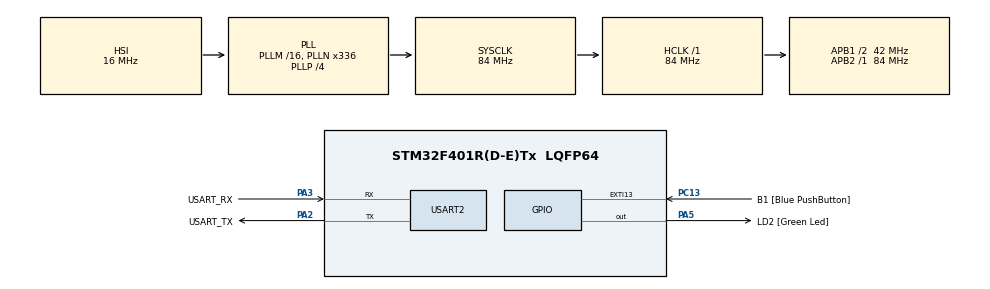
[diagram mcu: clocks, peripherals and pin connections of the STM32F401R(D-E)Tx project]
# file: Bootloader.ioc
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Mcu.Family=STM32F4
Mcu.Name=STM32F401R(D-E)Tx
Mcu.Package=LQFP64
NVIC.PriorityGroup=NVIC_PRIORITYGROUP_0
PA13.GPIO_Label=TMS
PA13.Mode=Serial_Wire
PA13.Signal=SYS_JTMS-SWDIO
PA14.GPIO_Label=TCK
PA14.Mode=Serial_Wire
PA14.Signal=SYS_JTCK-SWCLK
PA2.GPIO_Label=USART_TX
PA2.GPIO_Mode=GPIO_MODE_AF_PP
PA2.GPIO_PuPd=GPIO_NOPULL
PA2.GPIO_Speed=GPIO_SPEED_FREQ_LOW
PA2.Mode=Asynchronous
PA2.Signal=USART2_TX
PA3.GPIO_Label=USART_RX
PA3.GPIO_Mode=GPIO_MODE_AF_PP
PA3.GPIO_PuPd=GPIO_NOPULL
PA3.GPIO_Speed=GPIO_SPEED_FREQ_LOW
PA3.Mode=Asynchronous
PA3.Signal=USART2_RX
PA5.GPIO_Label=LD2 [Green Led]
PA5.GPIO_Mode=GPIO_MODE_OUTPUT_PP
PA5.GPIO_PuPd=GPIO_NOPULL
PA5.GPIO_Speed=GPIO_SPEED_FREQ_LOW
PA5.Signal=GPIO_Output
PB3.GPIO_Label=SWO
PB3.Signal=SYS_JTDO-SWO
PC13-ANTI_TAMP.GPIO_Label=B1 [Blue PushButton]
PC13-ANTI_TAMP.GPIO_ModeDefaultEXTI=GPIO_MODE_IT_FALLING
PC13-ANTI_TAMP.GPIO_PuPd=GPIO_NOPULL
PC13-ANTI_TAMP.Signal=GPXTI13
PC14-OSC32_IN.Mode=LSE-External-Oscillator
PC14-OSC32_IN.Signal=RCC_OSC32_IN
PC15-OSC32_OUT.Mode=LSE-External-Oscillator
PC15-OSC32_OUT.Signal=RCC_OSC32_OUT
PH0\ -\ OSC_IN.Mode=HSE-External-Clock-Source
PH0\ -\ OSC_IN.Signal=RCC_OSC_IN
PH1\ -\ OSC_OUT.Mode=HSE-External-Clock-Source
PH1\ -\ OSC_OUT.Signal=RCC_OSC_OUT
ProjectManager.HeapSize=0x200
ProjectManager.StackSize=0x400
ProjectManager.TargetToolchain=STM32CubeIDE
RCC.48MHZClocksFreq_Value=48000000
RCC.AHBFreq_Value=84000000
RCC.APB1CLKDivider=RCC_HCLK_DIV2
RCC.APB1Freq_Value=42000000
RCC.APB1TimFreq_Value=84000000
RCC.APB2Freq_Value=84000000
RCC.APB2TimFreq_Value=84000000
RCC.CortexFreq_Value=84000000
RCC.HCLKFreq_Value=84000000
RCC.HSE_VALUE=8000000
RCC.HSI_VALUE=16000000
RCC.PLLN=336
RCC.PLLP=RCC_PLLP_DIV4
RCC.PLLQ=7
RCC.SYSCLKFreq_VALUE=84000000
RCC.SYSCLKSource=RCC_SYSCLKSOURCE_PLLCLK
RCC.VCOOutputFreq_Value=336000000
USART2.VirtualMode=VM_ASYNC
board=NUCLEO-F401RE

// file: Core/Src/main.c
/* USER CODE BEGIN Header */
/**
  ******************************************************************************
  * @file           : main.c
  * @brief          : Main program body
  ******************************************************************************
  * @attention
  *
  * Copyright (c) 2024 STMicroelectronics.
  * All rights reserved.
  *
  * This software is licensed under terms that can be found in the LICENSE file
  * in the root directory of this software component.
  * If no LICENSE file comes with this software, it is provided AS-IS.
  *
  ******************************************************************************
  */
/* USER CODE END Header */
#include "main.h"
#include <stdio.h>
#include "usart.h"
#include "gpio.h"

/* USER CODE BEGIN PD */
#define MAJOR 0
#define MINOR 1
/* USER CODE END PD */

/* USER CODE BEGIN PV */
const uint8_t bl_version[2] = {MAJOR, MINOR};
/* USER CODE END PV */

void SystemClock_Config(void);
/* USER CODE BEGIN PFP */
static void jump_app();
/* USER CODE END PFP */

int main(void)
{

  /* MCU Configuration--------------------------------------------------------*/

  /* Reset of all peripherals, Initializes the Flash interface and the Systick. */
  HAL_Init();

  /* Configure the system clock */
  SystemClock_Config();

  /* Initialize all configured peripherals */
  MX_GPIO_Init();
  MX_USART2_UART_Init();
  /* USER CODE BEGIN 2 */
  printf("Bootloader Starting! Version number: %d.%d\n", bl_version[0], bl_version[1]);
  HAL_GPIO_WritePin(GPIOA, GPIO_PIN_5, SET);

  bool ota_btn_state = 0;
  uint32_t end_tick = HAL_GetTick() + 2000;
  do {
	ota_btn_state = HAL_GPIO_ReadPin( GPIOC, GPIO_PIN_13 );
	uint32_t current_tick = HAL_GetTick();

	if( ( ota_btn_state != GPIO_PIN_RESET ) || ( current_tick > end_tick ) )
	{
	  break;
	}
  }
  while(true);

  if(ota_btn_state)
  {
	  printf("Starting firmware download\n");

	  if(etx_ota_download_and_flash() != ETX_OTA_EX_OK)
	  {
		  printf("OTA update error. Program halting\n");
		  while(true);
	  }
	  else
	  {
		  printf("OTA update done! Rebooting\n");
		  HAL_NVIC_SystemReset(); //Reset application to load it
	  }

  }

  jump_app();
  /* USER CODE END 2 */

  /* Infinite loop */
  while (1)
  {

  }
}

void SystemClock_Config(void)
{
  RCC_OscInitTypeDef RCC_OscInitStruct = {0};
  RCC_ClkInitTypeDef RCC_ClkInitStruct = {0};

  /** Configure the main internal regulator output voltage
  */
  __HAL_RCC_PWR_CLK_ENABLE();
  __HAL_PWR_VOLTAGESCALING_CONFIG(PWR_REGULATOR_VOLTAGE_SCALE2);

  /** Initializes the RCC Oscillators according to the specified parameters
  * in the RCC_OscInitTypeDef structure.
  */
  RCC_OscInitStruct.OscillatorType = RCC_OSCILLATORTYPE_HSI;
  RCC_OscInitStruct.HSIState = RCC_HSI_ON;
  RCC_OscInitStruct.HSICalibrationValue = RCC_HSICALIBRATION_DEFAULT;
  RCC_OscInitStruct.PLL.PLLState = RCC_PLL_ON;
  RCC_OscInitStruct.PLL.PLLSource = RCC_PLLSOURCE_HSI;
  RCC_OscInitStruct.PLL.PLLM = 16;
  RCC_OscInitStruct.PLL.PLLN = 336;
  RCC_OscInitStruct.PLL.PLLP = RCC_PLLP_DIV4;
  RCC_OscInitStruct.PLL.PLLQ = 7;
  if (HAL_RCC_OscConfig(&RCC_OscInitStruct) != HAL_OK)
  {
    Error_Handler();
  }

  /** Initializes the CPU, AHB and APB buses clocks
  */
  RCC_ClkInitStruct.ClockType = RCC_CLOCKTYPE_HCLK|RCC_CLOCKTYPE_SYSCLK
                              |RCC_CLOCKTYPE_PCLK1|RCC_CLOCKTYPE_PCLK2;
  RCC_ClkInitStruct.SYSCLKSource = RCC_SYSCLKSOURCE_PLLCLK;
  RCC_ClkInitStruct.AHBCLKDivider = RCC_SYSCLK_DIV1;
  RCC_ClkInitStruct.APB1CLKDivider = RCC_HCLK_DIV2;
  RCC_ClkInitStruct.APB2CLKDivider = RCC_HCLK_DIV1;

  if (HAL_RCC_ClockConfig(&RCC_ClkInitStruct, FLASH_LATENCY_2) != HAL_OK)
  {
    Error_Handler();
  }
}

/* USER CODE BEGIN 4 */
#ifdef __GNUC__
int __io_putchar(int ch)
#else
int fputc(int ch, FILE *f)
#endif /* __GNUC__ */
{
  HAL_UART_Transmit(&huart2, (uint8_t *)&ch, 2, HAL_MAX_DELAY);

  return ch;
}

static void jump_app(void) {
  printf("jumping to app! \n");
  void (*app_reset_handler) (void) = (void *) (*(volatile uint32_t*) (0x08010000 + 4));

  app_reset_handler();
}
/* USER CODE END 4 */

void Error_Handler(void)
{
  __disable_irq();
  while (1)
  {
  }
}
